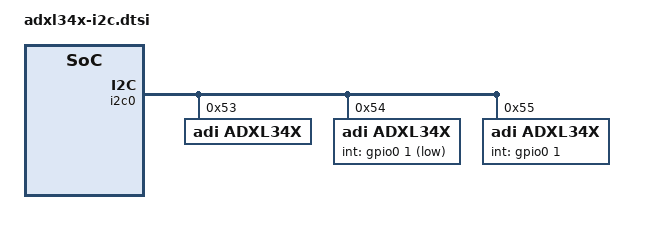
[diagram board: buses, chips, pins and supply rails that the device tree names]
/*
 * Copyright (c) 2024 Chaim Zax
 * SPDX-License-Identifier: Apache-2.0
 */

&i2c0 {
	adxl34x@53 {
		compatible = "adi,adxl34x";
		reg = <0x53>;
		status = "okay";
	};

	adxl34x@54 {
		compatible = "adi,adxl34x";
		reg = <0x54>;
		int-gpios = <&gpio0 1 GPIO_ACTIVE_LOW>;
		int-pin = <1>;
		packet-size = <16>;
		accel-frequency = "50";
		accel-range = <2>;
		status = "okay";
	};

	adxl34x@55 {
		compatible = "adi,adxl34x";
		reg = <0x55>;
		int-gpios = <&gpio0 1 GPIO_ACTIVE_HIGH>;
		int-pin = <2>;
		packet-size = <31>;
		accel-frequency = "3200";
		accel-range = <16>;
		status = "okay";
	};
};
